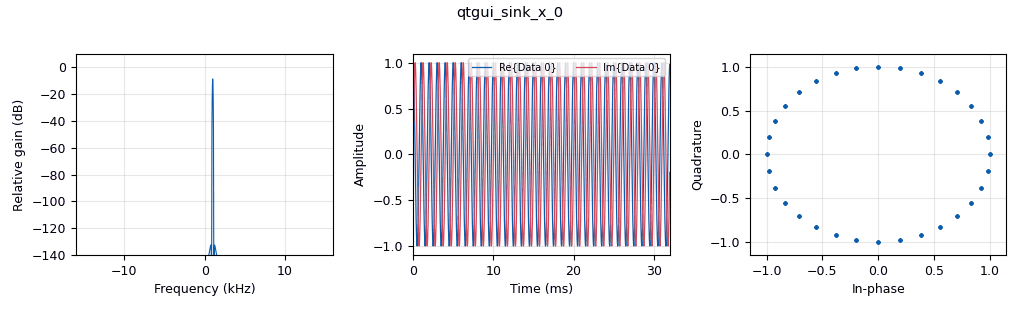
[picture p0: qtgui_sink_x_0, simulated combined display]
options:
  parameters:
    author: vivelpanel
    generate_options: qt_gui
    id: emb_py
    output_language: python
    title: Embedded Python Test
  states: {}

blocks:
- name: samp_rate
  id: variable
  parameters:
    value: '32000'
  states: {}
- name: analog_sig_source_x_0
  id: analog_sig_source_x
  parameters:
    amp: '1'
    freq: '1000'
    offset: '0'
    phase: '0'
    samp_rate: samp_rate
    type: complex
    waveform: analog.GR_COS_WAVE
  states: {}
- name: blocks_throttle_0
  id: blocks_throttle
  parameters:
    samples_per_second: samp_rate
    type: complex
  states: {}
- name: epy_block_0
  id: epy_block
  parameters:
    _source_code: |
      """
      Embedded Python Blocks:

      Each time this file is saved, GRC will instantiate the first class it finds
      to get ports and parameters of your block. The arguments to __init__  will
      be the parameters. All of them are required to have default values!
      """

      import numpy as np
      from gnuradio import gr


      class blk(gr.sync_block):  # other base classes are basic_block, decim_block, interp_block
          """Embedded Python Block example - a simple multiply const"""

          def __init__(self, example_param=1.0):  # only default arguments here
              """arguments to this function show up as parameters in GRC"""
              gr.sync_block.__init__(
                  self,
                  name='Embedded Python Block',   # will show up in GRC
                  in_sig=[np.complex64],
                  out_sig=[np.complex64]
              )
              # if an attribute with the same name as a parameter is found,
              # a callback is registered (properties work, too).
              self.example_param = example_param

          def work(self, input_items, output_items):
              """example: multiply with constant"""
              output_items[0][:] = input_items[0] * self.example_param
              return len(output_items[0])
    comment: |-
      Did not change this code at all.
      Did look at it with IDLE. Input a
      value for the parameter here,
      in the block.
    example_param: '1.0'
  states: {}
- name: note_0
  id: note
  parameters:
    comment: |-
      I just made this flowgraph
      for testing purposes.
      Back when I was first going
      through some GRC
      tutorials, I read the pages
      and followed the tutorial
      on Python Blocks, but
      somehow my Python
      blocks have never worked.
    note: just for testing
  states: {}
- name: qtgui_sink_x_0
  id: qtgui_sink_x
  parameters:
    bw: samp_rate
    comment: |-
      Disabling the Python block and
      connecting straight to the throttle
      makes this flowgraph functional.
    fc: '0'
    fftsize: '1024'
    type: complex
  states: {}

connections:
- [analog_sig_source_x_0, '0', blocks_throttle_0, '0']
- [blocks_throttle_0, '0', epy_block_0, '0']
- [epy_block_0, '0', qtgui_sink_x_0, '0']

metadata:
  file_format: 1
